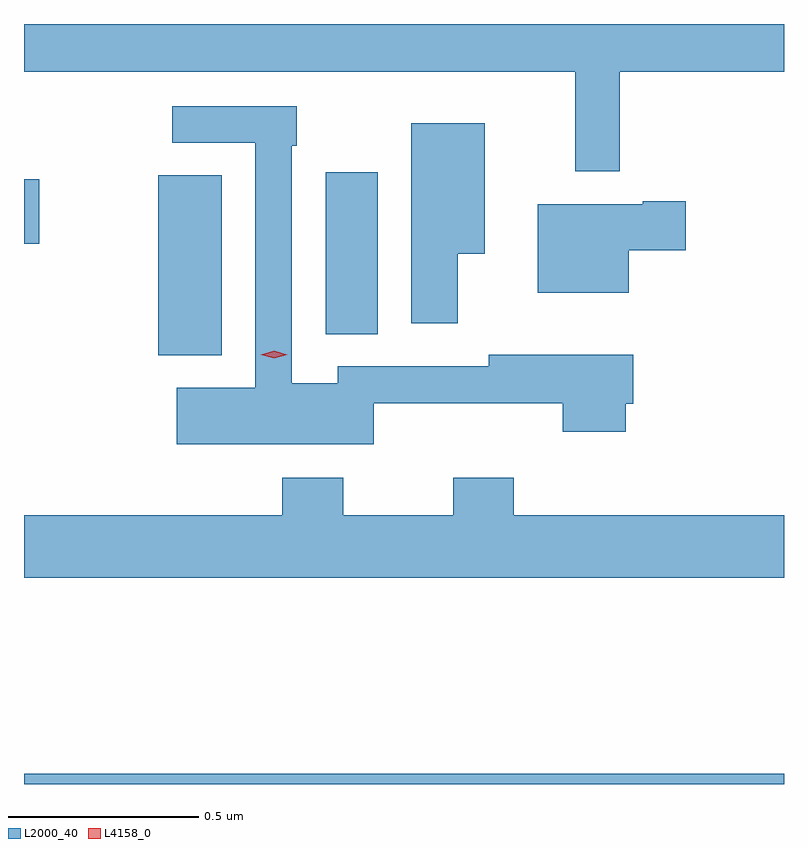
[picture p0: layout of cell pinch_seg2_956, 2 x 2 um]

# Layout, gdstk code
import gdstk
lib = gdstk.Library(unit=1e-6, precision=1e-09)
def R(c, l, rs):  # rectangles x0, y0, x1, y1
    for r in rs: c.add(gdstk.rectangle(r[:2], r[2:], *l))
def P(c, l, *ps):  # polygons
    for p in ps: c.add(gdstk.Polygon(p, *l))
L2000_40 = (2000, 40)
L4158_0 = (4158, 0)

pinch_seg2_956 = lib.new_cell('pinch_seg2_956')
R(pinch_seg2_956, L2000_40, [(264.687,661.745,266.687,661.772), (265.04,662.873,265.207,663.347), (265.481,662.929,265.618,663.355), (264.687,663.167,264.727,663.337)])
P(pinch_seg2_956, L2000_40, [(264.687,663.62),(266.137,663.62),(266.137,663.357),(266.255,663.357),(266.255,663.62),(266.687,663.62),(266.687,663.745),(264.687,663.745)],
  [(265.608,662.747),(266.105,662.747),(266.105,662.672),(266.27,662.672),(266.27,662.746),(266.29,662.746),(266.29,662.875),(265.91,662.875),(265.91,662.844),(265.512,662.844),(265.512,662.8),(265.392,662.8),(265.392,663.425),(265.405,663.425),(265.405,663.528),(265.077,663.528),(265.077,663.432),(265.296,663.432),(265.296,662.788),(265.089,662.788),(265.089,662.639),(265.608,662.639)],
  [(265.828,663.14),(265.9,663.14),(265.9,663.484),(265.706,663.484),(265.706,662.958),(265.828,662.958)],
  [(266.278,663.149),(266.428,663.149),(266.428,663.279),(266.315,663.279),(266.315,663.271),(266.039,663.271),(266.039,663.038),(266.278,663.038)],
  [(266.687,662.452),(265.976,662.452),(265.976,662.551),(265.816,662.551),(265.816,662.452),(265.527,662.452),(265.527,662.551),(265.367,662.551),(265.367,662.452),(264.687,662.452),(264.687,662.288),(266.687,662.288)])
P(pinch_seg2_956, L4158_0, [(265.345,662.865),(265.31,662.874),(265.31,662.875),(265.31,662.875),(265.345,662.885),(265.38,662.875),(265.38,662.875),(265.38,662.874)])

lib.write_gds('pinch_seg2_956.gds')
